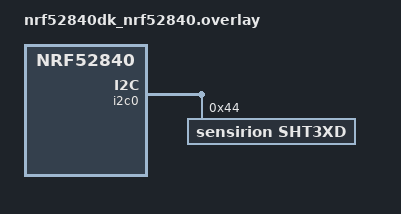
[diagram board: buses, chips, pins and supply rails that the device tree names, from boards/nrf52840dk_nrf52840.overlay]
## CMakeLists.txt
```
#
# Copyright (c) 2021 Nordic Semiconductor ASA
#
# SPDX-License-Identifier: LicenseRef-Nordic-5-Clause
#

cmake_minimum_required(VERSION 3.20.0)

find_package(Zephyr HINTS $ENV{ZEPHYR_BASE})

project(template)

# Enable GNU STD support and initialize the Matter Data Model.
include(${ZEPHYR_CONNECTEDHOMEIP_MODULE_DIR}/config/nrfconnect/app/enable-gnu-std.cmake)
include(${ZEPHYR_CONNECTEDHOMEIP_MODULE_DIR}/src/app/chip_data_model.cmake)

# NORDIC SDK APP START

# Include all source files that are located in the Matter common directory.
include(${ZEPHYR_NRF_MODULE_DIR}/samples/matter/common/cmake/source_common.cmake)

target_include_directories(app PRIVATE
    src
    ${CONFIG_NCS_SAMPLE_MATTER_ZAP_FILES_PATH}
)

target_sources(app PRIVATE
    src/app_task.cpp
    src/main.cpp
)

chip_configure_data_model(app
    INCLUDE_SERVER
    BYPASS_IDL
    GEN_DIR ${CONFIG_NCS_SAMPLE_MATTER_ZAP_FILES_PATH}/zap-generated
    ZAP_FILE ${CMAKE_CURRENT_SOURCE_DIR}/${CONFIG_NCS_SAMPLE_MATTER_ZAP_FILES_PATH}/template.zap
)
# NORDIC SDK APP END
```

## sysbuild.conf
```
#
# Copyright (c) 2024 Nordic Semiconductor
#
# SPDX-License-Identifier: LicenseRef-Nordic-5-Clause
#

SB_CONFIG_MATTER=y

# Factory Data 생성 비활성화
SB_CONFIG_MATTER_FACTORY_DATA_GENERATE=n  
```

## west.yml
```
manifest:
  version: "1.2"

  self:
    path: .

  projects:
    - name: nrf
      url: https://github.com/nrfconnect/sdk-nrf.git   # 절대 URL 권장
      path: nrf
      revision: v3.0.2                                  # 위 NCS_TAG와 맞추면 좋음
      import: true                                      # zephyr/nrfxlib/modules 등 자동 포함
```

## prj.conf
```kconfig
#
# Copyright (c) 2021 Nordic Semiconductor ASA
#
# SPDX-License-Identifier: LicenseRef-Nordic-5-Clause
#

# This sample uses Kconfig.defaults to set options common for all
# samples. This file should contain only options specific for this sample
# or overrides of default values.

# Enable CHIP
CONFIG_CHIP=y
CONFIG_CHIP_PROJECT_CONFIG="src/chip_project_config.h"
# 32768 == 0x8000 (example Product ID added temporaly,
# but it must be changed with proper PID from the list:
# https://github.com/project-chip/connectedhomeip/blob/482e6fd03196a6de45465a90003947ef4b86e0b1/docs/examples/discussion/PID_allocation_for_example_apps.md)
CONFIG_CHIP_DEVICE_PRODUCT_ID=32768
CONFIG_STD_CPP17=y

# Enable Matter pairing automatically on application start.
CONFIG_CHIP_ENABLE_PAIRING_AUTOSTART=y

# Enable Matter extended announcement and increase duration to 1 hour.
CONFIG_CHIP_BLE_EXT_ADVERTISING=y
CONFIG_CHIP_BLE_ADVERTISING_DURATION=60

# Add support for LEDs and buttons on Nordic development kits
CONFIG_DK_LIBRARY=y

# Bluetooth Low Energy configuration
CONFIG_BT_DEVICE_NAME="MatterTemplate"

# Other settings
CONFIG_THREAD_NAME=y
CONFIG_MPU_STACK_GUARD=y
CONFIG_RESET_ON_FATAL_ERROR=n
CONFIG_CHIP_LIB_SHELL=y
CONFIG_NCS_SAMPLE_MATTER_TEST_SHELL=y

# Disable NFC commissioning
CONFIG_CHIP_NFC_COMMISSIONING=n

# Reduce application size
CONFIG_USE_SEGGER_RTT=n

# Enable Factory Data feature
CONFIG_CHIP_FACTORY_DATA=y
CONFIG_CHIP_FACTORY_DATA_BUILD=n

# I2C support
CONFIG_I2C=y
CONFIG_SENSOR=y
CONFIG_CBPRINTF_FP_SUPPORT=y
```

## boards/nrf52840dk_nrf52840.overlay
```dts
/* Copyright (c) 2021 Nordic Semiconductor ASA
 *
 * SPDX-License-Identifier: LicenseRef-Nordic-5-Clause
 */

/ {
	chosen {
		nordic,pm-ext-flash = &mx25r64;
	};
};


/ {
	/*
	* In some default configurations within the nRF Connect SDK,
	* e.g. on nRF52840, the chosen zephyr,entropy node is &cryptocell.
	* This devicetree overlay ensures that default is overridden wherever it
	* is set, as this application uses the RNG node for entropy exclusively.
	*/
	chosen {
		zephyr,entropy = &rng;
	};
};

/* Disable unused peripherals to reduce power consumption */
&adc {
	status = "disabled";
};
&uart1 {
	status = "disabled";
};
&i2c0 { /* SDA P0.26, SCL P0.27,  */
	sht3xd@44 {
		compatible = "sensirion,sht3xd";
		reg = <0x44>;
	};
};
&pwm0 {
	status = "disabled";
};
&spi1 {
	status = "disabled";
};
&spi3 {
	status = "disabled";
};
&usbd {
	status = "disabled";
};
```

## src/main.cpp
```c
/*
 * Copyright (c) 2021 Nordic Semiconductor ASA
 *
 * SPDX-License-Identifier: LicenseRef-Nordic-5-Clause
 */

#include "app_task.h"

#include <zephyr/logging/log.h>

#include <platform/CHIPDeviceLayer.h>
#include <app/server/Server.h>

#include <app-common/zap-generated/cluster-objects.h>
#include <app-common/zap-generated/attributes/Accessors.h>


LOG_MODULE_REGISTER(app, CONFIG_CHIP_APP_LOG_LEVEL);


int main()
{
	CHIP_ERROR err = AppTask::Instance().StartApp();

  
	LOG_ERR("Exited with code %" CHIP_ERROR_FORMAT, err.Format());
	return err == CHIP_NO_ERROR ? EXIT_SUCCESS : EXIT_FAILURE;
}
```

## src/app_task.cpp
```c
/*
 * Copyright (c) 2021 Nordic Semiconductor ASA
 *
 * SPDX-License-Identifier: LicenseRef-Nordic-5-Clause
 */

#include "app_task.h"

#include "app/matter_init.h"
#include "app/task_executor.h"
#include "board/board.h"
#include "lib/core/CHIPError.h"
#include "lib/support/CodeUtils.h"

#include <setup_payload/OnboardingCodesUtil.h>

#include <zephyr/logging/log.h>

#include <app-common/zap-generated/attributes/Accessors.h>
//#include <app/clusters/temperature-measurement-server/temperature-measurement-server.h>
//#include <app/clusters/relative-humidity-measurement-server/relative-humidity-measurement-server.h>

//#include "sht31_sensor.h"
//#include <drivers/sensor.h>
#include <zephyr/kernel.h>
#include <zephyr/device.h>
#include <zephyr/drivers/sensor.h>

#define CONFIG_USE_VIRTUAL_SENSOR_DATA 
//#define CONFIG_USE_REAL_SENSOR_DATA
#if defined(CONFIG_USE_VIRTUAL_SENSOR_DATA) && defined(CONFIG_USE_REAL_SENSOR_DATA)
  #error "Only one of CONFIG_USE_VIRTUAL_SENSOR_DATA or CONFIG_USE_REAL_SENSOR_DATA must be defined"
#endif

// 온습도 업데이트 주기 (10초)
#define SENSOR_UPDATE_PERIOD_MS 10000
// 온습도 업데이트 스레드
K_THREAD_STACK_DEFINE(sensor_stack, 2048);

LOG_MODULE_DECLARE(app, CONFIG_CHIP_APP_LOG_LEVEL);

using namespace ::chip;
using namespace ::chip::app;
using namespace ::chip::DeviceLayer;


struct k_thread sensor_thread_data;

static const struct device *sht31_dev;


// 엔드포인트 ID (ZAP에서 설정한 값)
constexpr chip::EndpointId kEndpointId = 1;



#if defined(CONFIG_USE_VIRTUAL_SENSOR_DATA)
// 가상 온도 센서 데이터를 읽어오는 함수
float ReadTemperatureSensorVirtual( float *temperatureC )
{
    // 20~30°C 
    *temperatureC += 0.1f;
    if( *temperatureC > 30.0f) 
      *temperatureC = 20.0f;

    LOG_DBG("Virtual Temperature: %.2f°C", (double)(*temperatureC));

    return *temperatureC;
}

// 실제 센서 드라이버에서 상대습도(%)를 읽어오는 함수 (현재는 가상 데이터)
float ReadHumiditySensorVirtual( float *humidityRH )
{
    // 40~60%
    *humidityRH += 0.1f;
    if( *humidityRH > 60.0f) 
      *humidityRH = 40.0f;

    LOG_DBG("Virtual Humidity: %.2f%%", (double)(*humidityRH));

    return *humidityRH;
}

// 가상 센서 데이터를 읽어오는 함수
void GetVirtualSensorData(float *temperatureC, float *humidityRH)
{
    *temperatureC = ReadTemperatureSensorVirtual(temperatureC);
    *humidityRH   = ReadHumiditySensorVirtual(humidityRH);
}
#endif

#if defined(CONFIG_USE_REAL_SENSOR_DATA)
void GetRealSensorData(float *temperatureC, float *humidityRH)
{
    if (!sht31_dev) {
        LOG_ERR("SHT31 device not found");
        *temperatureC = 20.0f;
        *humidityRH = 40.0f;
        return;
    }

    // 센서 샘플 가져오기
    if (sensor_sample_fetch(sht31_dev) < 0) {
        LOG_ERR("Failed to fetch sample");
    } else {
        struct sensor_value temp, hum;
        sensor_channel_get(sht31_dev, SENSOR_CHAN_AMBIENT_TEMP, &temp);
        sensor_channel_get(sht31_dev, SENSOR_CHAN_HUMIDITY, &hum);

        *temperatureC = temp.val1 + (temp.val2 / 1000000.0f); // °C
        *humidityRH   = hum.val1 + (hum.val2 / 1000000.0f); // %
        LOG_DBG("Real Temperature: %.2f°C, Humidity: %.2f%%", 
                (double)(*temperatureC), (double)(*humidityRH));
    }
}
#endif

void GetSensorData(float *temperatureC, float *humidityRH)
{
  #if defined(CONFIG_USE_VIRTUAL_SENSOR_DATA)
  GetVirtualSensorData(temperatureC, humidityRH);
  #endif
  #if defined(CONFIG_USE_REAL_SENSOR_DATA)
  GetRealSensorData(temperatureC, humidityRH);
  #endif
}

// 온습도 값을 Matter 속성에 업데이트하는 함수
void UpdateTemperatureHumidity(float temperatureC, float humidityRH)
{
    using namespace chip::app::Clusters;
    using chip::Protocols::InteractionModel::Status;

    // 2) Matter 단위로 변환 (0.01 단위)
    // Temperature: 0.01°C 단위
    int16_t tempValue = static_cast<int16_t>(temperatureC * 100);
    // Humidity: 0.01% 단위  
    uint16_t humValue = static_cast<uint16_t>(humidityRH * 100);

    // 3) Temperature 속성 업데이트
    Status statusTemp = TemperatureMeasurement::Attributes::MeasuredValue::Set(kEndpointId, tempValue);
    
    if (statusTemp != Status::Success) {
        LOG_ERR("Failed to update temperature: 0x%02X", static_cast<uint8_t>(statusTemp));
    } else {
        LOG_DBG("Temperature updated: %d (%.2f°C)", tempValue, (double)(temperatureC));
    }

    // 4) Humidity 속성 업데이트 (ZAP 파일에 클러스터 추가 필요)
    // 주의: RelativeHumidityMeasurement 클러스터가 ZAP 파일에 추가되어야 함
    Status statusHum = RelativeHumidityMeasurement::Attributes::MeasuredValue::Set(kEndpointId, humValue);
    
    if (statusHum != Status::Success) {
        LOG_ERR("Failed to update humidity: 0x%02X", static_cast<uint8_t>(statusHum));
    } else {
        LOG_DBG("Humidity updated: %d (%.2f%%)", humValue, (double)(humidityRH));
    }
}

// 센서 업데이트 스레드 함수
void sensor_thread_func(void *arg1, void *arg2, void *arg3)
{
    float temperatureC = 25.0f;
    float humidityRH   = 50.0f;

    ARG_UNUSED(arg1);
    ARG_UNUSED(arg2);
    ARG_UNUSED(arg3);

    LOG_INF("Sensor thread started");

    // Matter 스택이 초기화될 때까지 대기
    k_sleep(K_SECONDS(5));

    while (1) {
        GetSensorData( &temperatureC, &humidityRH);
        UpdateTemperatureHumidity(temperatureC, humidityRH);
        k_sleep(K_MSEC(SENSOR_UPDATE_PERIOD_MS));
    }
}

#if defined(CONFIG_USE_REAL_SENSOR_DATA)
static bool sensor_device_init( void )
{
    LOG_INF("Initializing SHT31 sensor...");
    
    /* Get device handle */
    sht31_dev = DEVICE_DT_GET_ONE(sensirion_sht3xd);
    if (!sht31_dev) {
        LOG_ERR("Failed to get SHT31 device");
        return false;
    }
    
    if (!device_is_ready(sht31_dev)) {
        LOG_ERR("SHT31 device is not ready");
        return false;
    }
    
    LOG_INF("SHT31 sensor initialized successfully");

    /* Perform initial reading */
    struct sensor_value temp, hum;
    if (sensor_sample_fetch(sht31_dev) < 0) {
        LOG_ERR("Failed to fetch initial sample from SHT31");
        return false;
    } else {
        sensor_channel_get(sht31_dev, SENSOR_CHAN_AMBIENT_TEMP, &temp);
        sensor_channel_get(sht31_dev, SENSOR_CHAN_HUMIDITY, &hum);
        #if 0
        LOG_INF("Initial Temperature: %d.%06d°C, Humidity: %d.%06d%%",
                temp.val1, temp.val2, hum.val1, hum.val2);
        #endif                
    }

    return true;
}
#endif

CHIP_ERROR AppTask::Init()
{
	/* Initialize Matter stack */
	ReturnErrorOnFailure(Nrf::Matter::PrepareServer());

	if (!Nrf::GetBoard().Init()) {
		LOG_ERR("User interface initialization failed.");
		return CHIP_ERROR_INCORRECT_STATE;
	}

  /* Initialize sensor */
  #if defined(CONFIG_USE_REAL_SENSOR_DATA)
  sensor_device_init();
  #endif

  k_thread_create(&sensor_thread_data,
                   sensor_stack,
                   K_THREAD_STACK_SIZEOF(sensor_stack),
                   sensor_thread_func,
                   NULL, NULL, NULL,
                   K_PRIO_COOP(5),
                   0, K_NO_WAIT);

	/* Register Matter event handler that controls the connectivity status LED based on the captured Matter network
	 * state. */
	ReturnErrorOnFailure(Nrf::Matter::RegisterEventHandler(Nrf::Board::DefaultMatterEventHandler, 0));

	return Nrf::Matter::StartServer();
}

CHIP_ERROR AppTask::StartApp()
{
	ReturnErrorOnFailure(Init());

	while (true) {
		Nrf::DispatchNextTask();
	}

	return CHIP_NO_ERROR;
}
```
